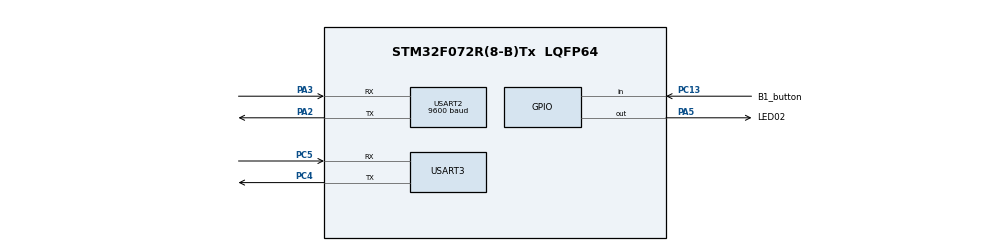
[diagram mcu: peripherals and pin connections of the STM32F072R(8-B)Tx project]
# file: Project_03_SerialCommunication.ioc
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Mcu.Family=STM32F0
Mcu.Name=STM32F072R(8-B)Tx
Mcu.Package=LQFP64
PA10.GPIO_Label=RX
PA10.Signal=USART1_RX
PA2.Mode=Asynchronous
PA2.Signal=USART2_TX
PA3.Mode=Asynchronous
PA3.Signal=USART2_RX
PA5.GPIO_Label=LED02
PA5.Signal=GPIO_Output
PA9.GPIO_Label=TX
PA9.Signal=USART1_TX
PC13.GPIO_Label=B1_button
PC13.Signal=GPIO_Input
PC4.Mode=Asynchronous
PC4.Signal=USART3_TX
PC5.Mode=Asynchronous
PC5.Signal=USART3_RX
ProjectManager.HeapSize=0x200
ProjectManager.StackSize=0x400
ProjectManager.TargetToolchain=STM32CubeIDE
USART2.BaudRate=9600
USART2.VirtualMode-Asynchronous=VM_ASYNC
USART3.VirtualMode-Asynchronous=VM_ASYNC
board=custom

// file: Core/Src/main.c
/* USER CODE BEGIN Header */
/**
  ******************************************************************************
  * @file           : main.c
  * @brief          : Main program body
  ******************************************************************************
  * @attention
  *
  * Copyright (c) 2022 STMicroelectronics.
  * All rights reserved.
  *
  * This software is licensed under terms that can be found in the LICENSE file
  * in the root directory of this software component.
  * If no LICENSE file comes with this software, it is provided AS-IS.
  *
  ******************************************************************************
  */
/* USER CODE END Header */
#include "main.h"

#define pressed 0
#define CheckButoon HAL_GPIO_ReadPin(B1_button_GPIO_Port,B1_button_Pin)

UART_HandleTypeDef huart2;
UART_HandleTypeDef huart3;

void SystemClock_Config(void);
static void MX_GPIO_Init(void);
static void MX_USART2_UART_Init(void);
static void MX_USART3_UART_Init(void);

int main(void)
{

  /* MCU Configuration--------------------------------------------------------*/

  /* Reset of all peripherals, Initializes the Flash interface and the Systick. */
  HAL_Init();

  /* Configure the system clock */
  SystemClock_Config();

  /* Initialize all configured peripherals */
  MX_GPIO_Init();
  MX_USART2_UART_Init();
  MX_USART3_UART_Init();

  /* Infinite loop */
  while (1)
  {

    /* USER CODE BEGIN 3 */

	  uint8_t Msg_01[] = "\r\n\n";
	  uint8_t Msg_02[] = "Botao acionado\r\n\n";
	  uint8_t Msg_03[] = "Sinal luminoso ativo\r\n\n";
	  uint8_t Msg_04[] = "Botao desacionado\r\n\n";
	  int LedState = 0;

	  if (CheckButoon == pressed ){

		  HAL_UART_Transmit(&huart2,Msg_02,sizeof(Msg_02),20);
		  HAL_UART_Transmit(&huart2,Msg_01,sizeof(Msg_01),20);
		  HAL_Delay(100);

		  HAL_GPIO_WritePin(LED02_GPIO_Port,LED02_Pin,GPIO_PIN_SET);

		  LedState =  HAL_GPIO_ReadPin(LED02_GPIO_Port,LED02_Pin);

		  if (LedState != 0){

			  HAL_UART_Transmit(&huart2,Msg_03,sizeof(Msg_03),20);
			  HAL_UART_Transmit(&huart2,Msg_01,sizeof(Msg_01),20);
			  HAL_Delay(100);

		  }

		  HAL_Delay(1000);
		  HAL_GPIO_WritePin(LED02_GPIO_Port,LED02_Pin,GPIO_PIN_RESET);
		  HAL_Delay(1000);

	  }

	  else {

		  HAL_UART_Transmit(&huart2,Msg_04,sizeof(Msg_04),20);
		  HAL_UART_Transmit(&huart2,Msg_01,sizeof(Msg_01),20);
		  HAL_Delay(100);

	  }

  }
  /* USER CODE END 3 */
}

void SystemClock_Config(void)
{
  RCC_OscInitTypeDef RCC_OscInitStruct = {0};
  RCC_ClkInitTypeDef RCC_ClkInitStruct = {0};
  RCC_PeriphCLKInitTypeDef PeriphClkInit = {0};

  /** Initializes the RCC Oscillators according to the specified parameters
  * in the RCC_OscInitTypeDef structure.
  */
  RCC_OscInitStruct.OscillatorType = RCC_OSCILLATORTYPE_HSI;
  RCC_OscInitStruct.HSIState = RCC_HSI_ON;
  RCC_OscInitStruct.HSICalibrationValue = RCC_HSICALIBRATION_DEFAULT;
  RCC_OscInitStruct.PLL.PLLState = RCC_PLL_NONE;
  if (HAL_RCC_OscConfig(&RCC_OscInitStruct) != HAL_OK)
  {
    Error_Handler();
  }

  /** Initializes the CPU, AHB and APB buses clocks
  */
  RCC_ClkInitStruct.ClockType = RCC_CLOCKTYPE_HCLK|RCC_CLOCKTYPE_SYSCLK
                              |RCC_CLOCKTYPE_PCLK1;
  RCC_ClkInitStruct.SYSCLKSource = RCC_SYSCLKSOURCE_HSI;
  RCC_ClkInitStruct.AHBCLKDivider = RCC_SYSCLK_DIV1;
  RCC_ClkInitStruct.APB1CLKDivider = RCC_HCLK_DIV1;

  if (HAL_RCC_ClockConfig(&RCC_ClkInitStruct, FLASH_LATENCY_0) != HAL_OK)
  {
    Error_Handler();
  }
  PeriphClkInit.PeriphClockSelection = RCC_PERIPHCLK_USART2;
  PeriphClkInit.Usart2ClockSelection = RCC_USART2CLKSOURCE_PCLK1;
  if (HAL_RCCEx_PeriphCLKConfig(&PeriphClkInit) != HAL_OK)
  {
    Error_Handler();
  }
}

static void MX_USART2_UART_Init(void)
{

  huart2.Instance = USART2;
  huart2.Init.BaudRate = 9600;
  huart2.Init.WordLength = UART_WORDLENGTH_8B;
  huart2.Init.StopBits = UART_STOPBITS_1;
  huart2.Init.Parity = UART_PARITY_NONE;
  huart2.Init.Mode = UART_MODE_TX_RX;
  huart2.Init.HwFlowCtl = UART_HWCONTROL_NONE;
  huart2.Init.OverSampling = UART_OVERSAMPLING_16;
  huart2.Init.OneBitSampling = UART_ONE_BIT_SAMPLE_DISABLE;
  huart2.AdvancedInit.AdvFeatureInit = UART_ADVFEATURE_NO_INIT;
  if (HAL_UART_Init(&huart2) != HAL_OK)
  {
    Error_Handler();
  }

}

static void MX_USART3_UART_Init(void)
{

  huart3.Instance = USART3;
  huart3.Init.BaudRate = 38400;
  huart3.Init.WordLength = UART_WORDLENGTH_8B;
  huart3.Init.StopBits = UART_STOPBITS_1;
  huart3.Init.Parity = UART_PARITY_NONE;
  huart3.Init.Mode = UART_MODE_TX_RX;
  huart3.Init.HwFlowCtl = UART_HWCONTROL_NONE;
  huart3.Init.OverSampling = UART_OVERSAMPLING_16;
  huart3.Init.OneBitSampling = UART_ONE_BIT_SAMPLE_DISABLE;
  huart3.AdvancedInit.AdvFeatureInit = UART_ADVFEATURE_NO_INIT;
  if (HAL_UART_Init(&huart3) != HAL_OK)
  {
    Error_Handler();
  }

}

static void MX_GPIO_Init(void)
{
  GPIO_InitTypeDef GPIO_InitStruct = {0};

  /* GPIO Ports Clock Enable */
  __HAL_RCC_GPIOC_CLK_ENABLE();
  __HAL_RCC_GPIOA_CLK_ENABLE();

  /*Configure GPIO pin Output Level */
  HAL_GPIO_WritePin(LED02_GPIO_Port, LED02_Pin, GPIO_PIN_RESET);

  /*Configure GPIO pin : B1_button_Pin */
  GPIO_InitStruct.Pin = B1_button_Pin;
  GPIO_InitStruct.Mode = GPIO_MODE_INPUT;
  GPIO_InitStruct.Pull = GPIO_NOPULL;
  HAL_GPIO_Init(B1_button_GPIO_Port, &GPIO_InitStruct);

  /*Configure GPIO pin : LED02_Pin */
  GPIO_InitStruct.Pin = LED02_Pin;
  GPIO_InitStruct.Mode = GPIO_MODE_OUTPUT_PP;
  GPIO_InitStruct.Pull = GPIO_NOPULL;
  GPIO_InitStruct.Speed = GPIO_SPEED_FREQ_LOW;
  HAL_GPIO_Init(LED02_GPIO_Port, &GPIO_InitStruct);

  /*Configure GPIO pins : TX_Pin RX_Pin */
  GPIO_InitStruct.Pin = TX_Pin|RX_Pin;
  GPIO_InitStruct.Mode = GPIO_MODE_AF_PP;
  GPIO_InitStruct.Pull = GPIO_NOPULL;
  GPIO_InitStruct.Speed = GPIO_SPEED_FREQ_HIGH;
  GPIO_InitStruct.Alternate = GPIO_AF1_USART1;
  HAL_GPIO_Init(GPIOA, &GPIO_InitStruct);

}

/* USER CODE BEGIN 4 */

void HAL_UART_RxCpltCallback(UART_HandleTypeDef*huart){

	UNUSED(huart);

}

/* USER CODE END 4 */

void Error_Handler(void)
{
  __disable_irq();
  while (1)
  {
  }
}
